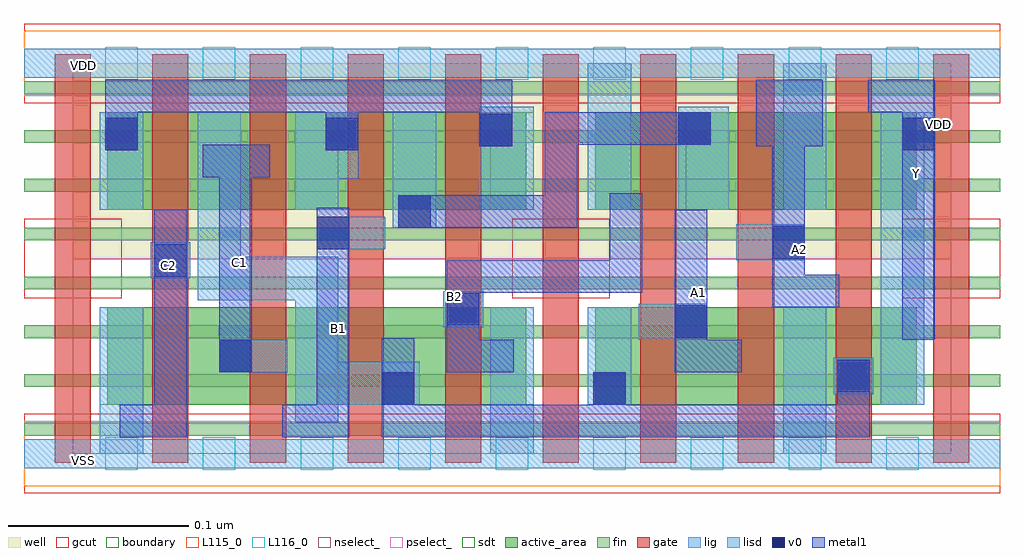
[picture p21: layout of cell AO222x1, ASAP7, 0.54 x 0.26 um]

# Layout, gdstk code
import gdstk
lib = gdstk.Library(unit=1e-6, precision=2.5e-10)
def R(c, l, rs):  # rectangles x0, y0, x1, y1
    for r in rs: c.add(gdstk.rectangle(r[:2], r[2:], *l))
def A(c, l, x, y, w, h, nx, ny, dx, dy):  # array of equal rectangles
    R(c, l, [(x+i*dx, y+j*dy, x+i*dx+w, y+j*dy+h) for i in range(nx) for j in range(ny)])
well = (1, 0)
fin = (2, 0)
gate = (7, 0)
gcut = (10, 0)
active_area = (11, 0)
nselect_ = (12, 0)
pselect_ = (13, 0)
lig = (16, 0)
lisd = (17, 0)
v0 = (18, 0)
metal1 = (19, 0)
sdt = (88, 0)
boundary = (100, 0)
L115_0 = (115, 0)
L116_0 = (116, 0)

ao222x1 = lib.new_cell('AO222x1')
R(ao222x1, well, [(0,0.108,0.486,0.216)])
A(ao222x1, fin, -0.027, 0.01, 0.54, 0.007, 1, 8, 0, 0.027)
A(ao222x1, gate, -0.01, -0.005, 0.02, 0.226, 10, 1, 0.054, 0)
R(ao222x1, gcut, [(-0.027,-0.022,0.513,0.022), (-0.027,0.086,0.027,0.13), (0.243,0.086,0.297,0.13), (0.459,0.086,0.513,0.13), (-0.027,0.194,0.513,0.238)])
R(ao222x1, active_area, [(0.019,0.027,0.251,0.081), (0.289,0.027,0.467,0.081), (0.019,0.135,0.251,0.189), (0.289,0.135,0.467,0.189)])
R(ao222x1, nselect_, [(0,0,0.486,0.108)])
R(ao222x1, pselect_, [(0,0.108,0.486,0.216)])
R(ao222x1, lig, [(-0.027,-0.008,0.513,0.008), (0.421,0.033,0.443,0.053), (0.081,0.045,0.119,0.063), (0.313,0.063,0.351,0.083), (0.205,0.07,0.227,0.09), (0.043,0.097,0.065,0.117), (0.367,0.107,0.405,0.127), (0.135,0.113,0.173,0.131), (-0.027,0.208,0.513,0.224)])
R(ao222x1, lisd, [(0.015,0,0.039,0.081), (0.231,0,0.255,0.081), (0.393,0,0.417,0.081), (0.123,0.017,0.147,0.085), (0.147,0.027,0.192,0.051), (0.285,0.027,0.309,0.081), (0.447,0.027,0.471,0.189), (0.069,0.085,0.147,0.109), (0.069,0.085,0.093,0.189), (0.177,0.125,0.201,0.189), (0.015,0.135,0.039,0.189), (0.123,0.135,0.147,0.189), (0.225,0.135,0.255,0.192), (0.285,0.135,0.309,0.216), (0.335,0.135,0.363,0.192), (0.393,0.135,0.417,0.216), (0.123,0.152,0.158,0.189), (0.453,0.152,0.477,0.189)])
R(ao222x1, v0, [(0.171,0.027,0.189,0.045), (0.288,0.027,0.306,0.045), (0.423,0.034,0.441,0.052), (0.081,0.045,0.099,0.063), (0.333,0.064,0.351,0.082), (0.207,0.071,0.225,0.089), (0.045,0.098,0.063,0.116), (0.387,0.108,0.405,0.126), (0.135,0.113,0.153,0.131), (0.18,0.125,0.198,0.143), (0.018,0.168,0.036,0.186), (0.14,0.168,0.158,0.186), (0.459,0.168,0.477,0.186), (0.225,0.17,0.243,0.188), (0.335,0.171,0.353,0.189)])
R(ao222x1, metal1, [(0.026,0.009,0.063,0.027), (0.045,0.009,0.063,0.135), (0.116,0.009,0.153,0.027), (0.135,0.009,0.153,0.136), (0.171,0.009,0.189,0.064), (0.189,0.009,0.441,0.027), (0.288,0.009,0.306,0.045), (0.423,0.027,0.441,0.052), (0.081,0.045,0.099,0.171), (0.207,0.045,0.244,0.063), (0.207,0.045,0.225,0.107), (0.333,0.045,0.37,0.063), (0.333,0.045,0.351,0.135), (0.459,0.063,0.477,0.207), (0.387,0.081,0.424,0.099), (0.387,0.081,0.405,0.207), (0.207,0.089,0.315,0.107), (0.297,0.089,0.315,0.144), (0.18,0.125,0.279,0.143), (0.261,0.125,0.279,0.189), (0.072,0.153,0.109,0.171), (0.018,0.168,0.036,0.207), (0.14,0.168,0.158,0.207), (0.225,0.17,0.243,0.207), (0.378,0.17,0.415,0.207), (0.261,0.171,0.353,0.189), (0.018,0.189,0.243,0.207), (0.44,0.189,0.477,0.207)])
A(ao222x1, sdt, 0.015, 0.027, 0.024, 0.054, 3, 1, 0.108, 0)
A(ao222x1, sdt, 0.015, 0.135, 0.024, 0.054, 9, 1, 0.054, 0)
R(ao222x1, sdt, [(0.285,0.027,0.309,0.081), (0.393,0.027,0.417,0.081), (0.447,0.027,0.471,0.081)])
R(ao222x1, boundary, [(0,0,0.486,0.216)])
R(ao222x1, L115_0, [(-0.027,-0.018,0.513,0.018), (-0.027,0.198,0.513,0.234)])
A(ao222x1, L116_0, 0.018, -0.009, 0.018, 0.018, 9, 2, 0.054, 0.216)
ao222x1.add(gdstk.Label('VSS', (0.545,0.177), layer=3, texttype=251))
ao222x1.add(gdstk.Label('VDD', (0.479,0.182), layer=1, texttype=251))
ao222x1.add(gdstk.Label('B1', (0.147,0.069), layer=19, texttype=251))
ao222x1.add(gdstk.Label('B2', (0.211,0.087), layer=19, texttype=251))
ao222x1.add(gdstk.Label('C2', (0.053,0.104), layer=19, texttype=251))
ao222x1.add(gdstk.Label('C1', (0.092,0.106), layer=19, texttype=251))
ao222x1.add(gdstk.Label('A1', (0.346,0.089), layer=19, texttype=251))
ao222x1.add(gdstk.Label('A2', (0.402,0.113), layer=19, texttype=251))
ao222x1.add(gdstk.Label('Y', (0.467,0.155), layer=19, texttype=251))
ao222x1.add(gdstk.Label('VSS', (0.006,-0.004), layer=115, texttype=251))
ao222x1.add(gdstk.Label('VDD', (0.006,0.215), layer=115, texttype=251))

lib.write_gds('AO222x1.gds')
